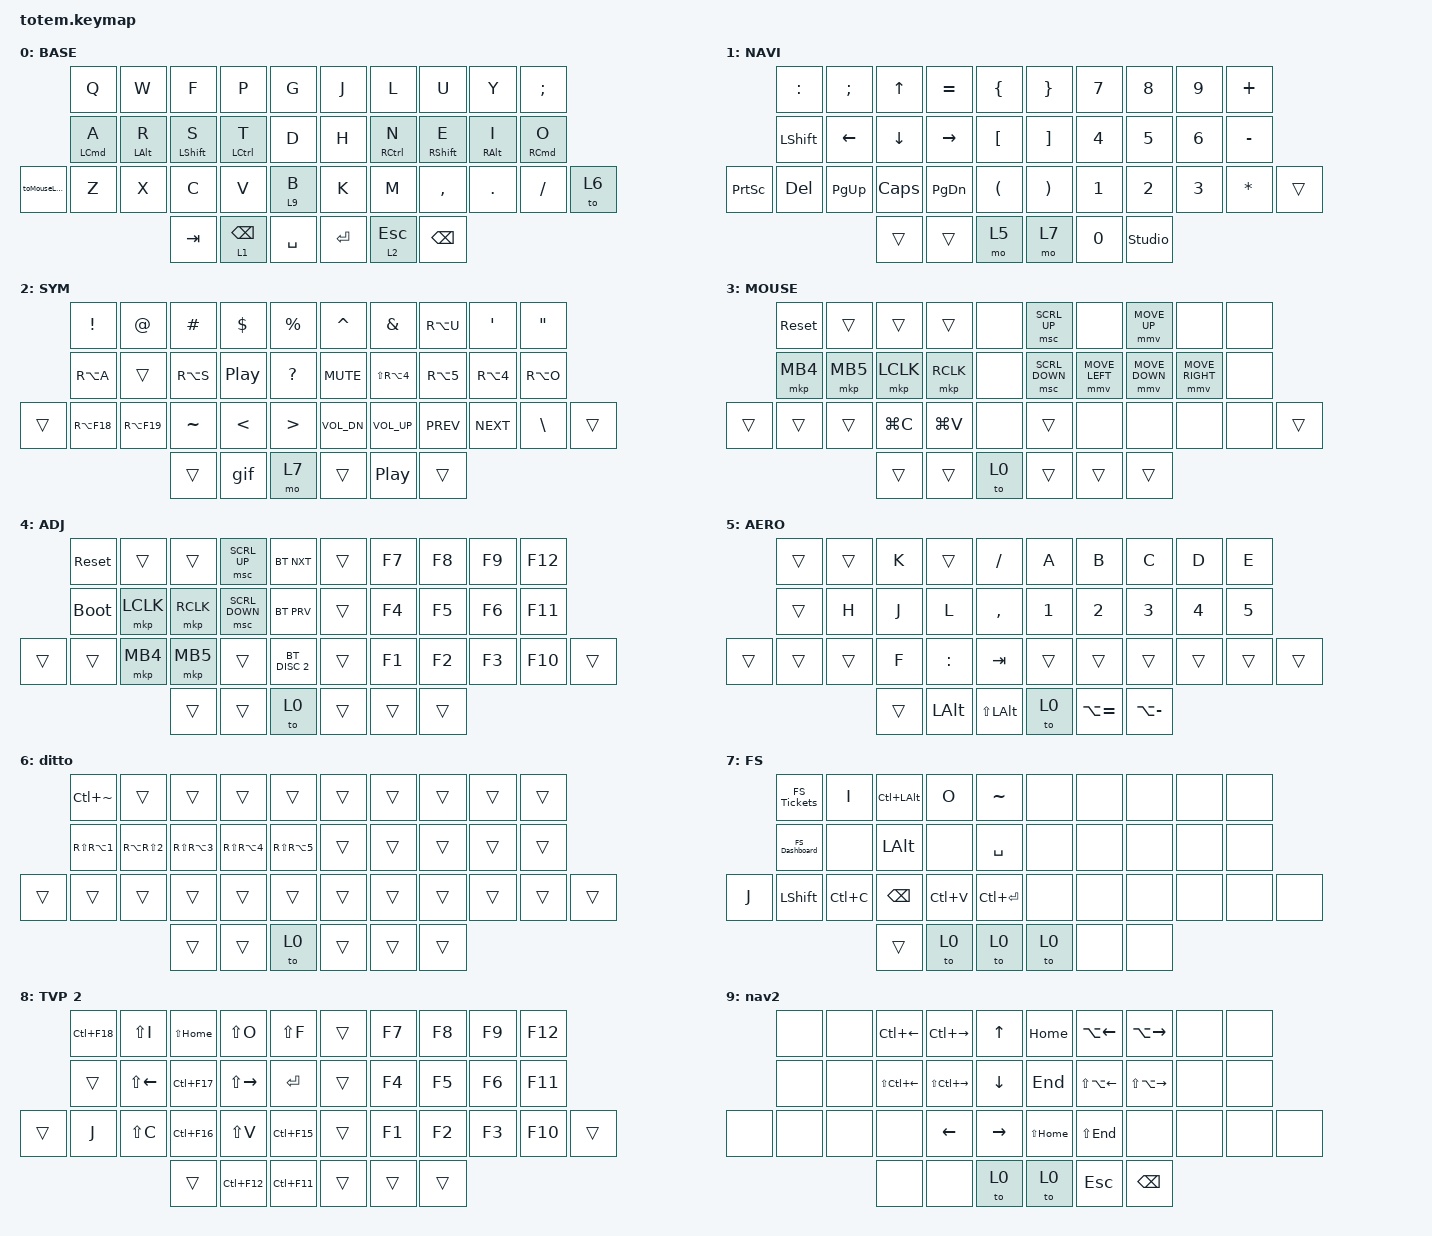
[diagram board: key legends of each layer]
//
//                                                        ▀▀▀▀▀     ▀▀▀▀▀          ▀▀█▀▀
//                                                        ▄▀▀▀▄  ▄  ▄▀▀▀▄  ▄  ▄▀▀▀▄  █  ▄▀▀▀▄
//                                                        █   █  █  █   █  █  █   █  █  █   █
//                                                         ▀▀▀   █   ▀▀▀   █   ▀▀▀   ▀   ▀▀▀
//                                                               █      ▄▄▄█▄▄▄    █   █  
//                                                               ▀      █  █  █     █▄█
//                                                             ▀▀▀▀▀    █  █  █      ▀
//                                                                      ▀  ▀  ▀
//
// ▄▄▄▄▄▄▄▄▄▄▄▄▄▄▄▄▄▄▄▄▄▄▄▄▄▄▄▄▄▄▄▄▄▄▄▄▄▄▄▄▄▄▄▄▄▄▄▄▄▄▄▄▄▄▄▄▄▄▄▄▄▄▄▄▄▄▄▄▄▄▄▄▄▄▄▄▄▄▄▄▄▄▄▄▄▄▄▄▄▄▄▄▄▄▄▄▄▄▄▄▄▄▄▄▄▄▄▄▄▄▄▄▄▄▄▄▄▄▄▄▄▄▄▄▄▄▄▄▄▄▄▄▄▄▄▄▄▄▄▄▄▄▄▄▄▄▄▄▄

#include <behaviors.dtsi>
#include <dt-bindings/zmk/bt.h>
#include <dt-bindings/zmk/keys.h>
#include <dt-bindings/zmk/pointing.h>

#define BASE 0
#define NAV  1
#define SYM  2
#define ADJ  3
#define TVP1 4
#define TVP2 5

&mt {
    quick-tap-ms = <100>;
    global-quick-tap;
    flavor = "tap-preferred";
    tapping-term-ms = <170>;
};

&mmv {
    x-input-code = <INPUT_REL_X>;
    y-input-code = <INPUT_REL_Y>;
    time-to-max-speed-ms = <100>;
    acceleration-exponent = <0>;
};

&msc {
    x-input-code = <INPUT_REL_HWHEEL>;
    y-input-code = <INPUT_REL_WHEEL>;
    time-to-max-speed-ms = <100>;
    acceleration-exponent = <0>;
};

/ {
    combos {
        compatible = "zmk,combos";

        combo_esc {
            timeout-ms = <50>;
            key-positions = <0 1>;
            bindings = <&kp ESC>;
        };

        combo_tvp {
            timeout-ms = <100>;
            key-positions = <11 12 13>;
            bindings = <&tog 7>;
        };

        homerowSearch {
            bindings = <&homerowSearch>;
            key-positions = <12 13>;
        };

        homerowScroll {
            bindings = <&homerowScroll>;
            key-positions = <16 17>;
        };

        aerospace {
            bindings = <&tog 5>;
            key-positions = <34 35>;
        };
    };

    macros {
        gif: gif {
            label = "giphy";
            compatible = "zmk,behavior-macro";
            #binding-cells = <0>;
            bindings =
                <&macro_press>,
                <&kp LSHFT>,
                <&macro_tap>,
                <&kp N2>,
                <&macro_release>,
                <&kp LSHFT>,
                <&macro_tap>,
                <&kp G &kp I &kp F>;
        };

        homerowSearch: homerowSearch {
            compatible = "zmk,behavior-macro";
            #binding-cells = <0>;
            bindings =
                <&macro_press>,
                <&kp LEFT_SHIFT>,
                <&macro_tap>,
                <&kp LEFT_COMMAND>,
                <&macro_release>,
                <&kp LEFT_SHIFT>;

            label = "HOMEROWSEARCH";
        };

        homerowScroll: homerowScroll {
            compatible = "zmk,behavior-macro";
            #binding-cells = <0>;
            bindings =
                <&macro_press>,
                <&kp LEFT_SHIFT &kp LEFT_COMMAND>,
                <&macro_tap>,
                <&kp J>,
                <&macro_release>,
                <&kp LEFT_SHIFT &kp LEFT_COMMAND>;

            label = "HOMEROWSCROLL";
        };

        aerospacewindow: aerospacewindow {
            compatible = "zmk,behavior-macro";
            #binding-cells = <0>;
            bindings =
                <&macro_press>,
                <&kp LA(LEFT_SHIFT)>,
                <&macro_pause_for_release>,
                <&macro_release>,
                <&kp LA(LEFT_SHIFT)>;

            label = "AEROSPACEWINDOW";
        };

        FS_Dashboard: FS_Dashboard {
            compatible = "zmk,behavior-macro";
            #binding-cells = <0>;
            bindings = <&macro_tap>, <&kp G &kp D>;

            label = "FS_DASHBOARD";
        };

        FS_Tickets: FS_Tickets {
            compatible = "zmk,behavior-macro";
            #binding-cells = <0>;
            bindings = <&macro_tap>, <&kp G &kp T>;

            label = "FS_TICKETS";
        };
    };

    behaviors {
        aerospace: aerospace {
            compatible = "zmk,behavior-toggle-layer";
            label = "AEROSPACE";
            #binding-cells = <1>;
            toggle-mode = "flip";
        };

        movewindow: movewindow {
            compatible = "zmk,behavior-tap-dance";
            label = "MOVEWINDOW";
            #binding-cells = <0>;
            bindings = <&kp LALT>, <&aerospacewindow>;
        };

        aero_on: aero_on {
            compatible = "zmk,behavior-toggle-layer";
            label = "AERO_ON";
            #binding-cells = <1>;
        };

        aero_off: aero_off {
            compatible = "zmk,behavior-toggle-layer";
            label = "AERO_OFF";
            #binding-cells = <1>;
            toggle-mode = "off";
        };

        aerospacehold: aerospacehold {
            compatible = "zmk,behavior-hold-tap";
            label = "AEROSPACEHOLD";
            bindings = <&tog>, <&kp>;

            #binding-cells = <2>;
            tapping-term-ms = <200>;
        };

        toMouseLayer: toMouseLayer {
            compatible = "zmk,behavior-tap-dance";
            label = "TOMOUSELAYER";
            #binding-cells = <0>;
            bindings = <&kp LC(GRAVE)>, <&tog 3>;

            tapping-term-ms = <400>;
        };

        NAV2: NAV2 {
            compatible = "zmk,behavior-tap-dance";
            label = "NAV2";
            #binding-cells = <0>;
            bindings = <&kp B>, <&to 9>;

            tapping-term-ms = <550>;
        };

        testnav2: testnav2 {
            compatible = "zmk,behavior-hold-tap";
            label = "TESTNAV2";
            bindings = <&to>, <&kp>;

            #binding-cells = <2>;
            tapping-term-ms = <200>;
            flavor = "balanced";
            quick-tap-ms = <175>;
            require-prior-idle-ms = <150>;
        };
    };

    keymap {
        compatible = "zmk,keymap";

        // ▄▄▄▄▄▄▄▄▄▄▄▄▄▄▄▄▄▄▄▄▄▄▄▄▄▄▄▄▄▄▄▄▄▄▄▄▄▄▄▄▄▄▄▄▄▄▄▄▄▄▄▄▄▄▄▄▄▄▄▄▄▄▄▄▄▄▄▄▄▄▄▄▄▄▄▄▄▄▄▄▄▄▄▄▄▄▄▄▄▄▄▄▄▄▄▄▄▄▄▄▄▄▄▄▄▄▄▄▄▄▄▄▄▄▄▄▄▄▄▄▄▄▄▄▄▄▄▄▄▄▄▄▄▄▄▄▄▄▄▄▄▄▄▄▄▄▄▄▄

        base_layer {
            // ┏━━━━━━━━━━━━━━━━━━━━━━━━━━━━━━━━━━━━━━━┓

            label = "BASE";

            // ┗━━━━━━━━━━━━━━━━━━━━━━━━━━━━━━━━━━━━━━━┛
            //             ┏━━━━━━━━━━━┳━━━━━━━━━━━┳━━━━━━━━━━━┳━━━━━━━━━━━┳━━━━━━━━━━━┓   ┏━━━━━━━━━━━┳━━━━━━━━━━━┳━━━━━━━━━━━┳━━━━━━━━━━━┳━━━━━━━━━━━┓
            //             ┃     Q     ┃     W     ┃     F     ┃     P     ┃     G     ┃   ┃     J     ┃     L     ┃     U     ┃     Y     ┃     ;     ┃
            //             ┣━━━━━━━━━━━╋━━━━━━━━━━━╋━━━━━━━━━━━╋━━━━━━━━━━━╋━━━━━━━━━━━┫   ┣━━━━━━━━━━━╋━━━━━━━━━━━╋━━━━━━━━━━━╋━━━━━━━━━━━╋━━━━━━━━━━━┫
            //             ┃     A     ┃     R     ┃     S     ┃     T     ┃     D     ┃   ┃     H     ┃     N     ┃     E     ┃     I     ┃     O     ┃
            // ┏━━━━━━━━━━━╋━━━━━━━━━━━╋━━━━━━━━━━━╋━━━━━━━━━━━╋━━━━━━━━━━━╋━━━━━━━━━━━┫   ┣━━━━━━━━━━━╋━━━━━━━━━━━╋━━━━━━━━━━━╋━━━━━━━━━━━╋━━━━━━━━━━━╋━━━━━━━━━━━┓
            // ┃     Q     ┃     Z     ┃     X     ┃     C     ┃     V     ┃     B     ┃   ┃     K     ┃     M     ┃     ,     ┃     .     ┃     /     ┃     \     ┃
            // ┗━━━━━━━━━━━┻━━━━━━━━━━━┻━━━━━━━━━━━╋━━━━━━━━━━━╋━━━━━━━━━━━╋━━━━━━━━━━━┫   ┣━━━━━━━━━━━╋━━━━━━━━━━━╋━━━━━━━━━━━╋━━━━━━━━━━━┻━━━━━━━━━━━┻━━━━━━━━━━━┛
            //                                     ┃    DEL    ┃    TAB    ┃    SPC    ┃   ┃   ENTER   ┃           ┃   BSPC    ┃
            //                                     ┗━━━━━━━━━━━┻━━━━━━━━━━━┻━━━━━━━━━━━┛   ┗━━━━━━━━━━━┻━━━━━━━━━━━┻━━━━━━━━━━━┛

            bindings = <
               &kp Q               &kp W       &kp F             &kp P            &kp G            &kp J      &kp L        &kp U              &kp Y       &kp SEMI
               &mt LEFT_COMMAND A  &mt LALT R  &mt LEFT_SHIFT S  &mt LCTRL T      &kp D            &kp H      &mt RCTRL N  &mt RIGHT_SHIFT E  &mt RALT I  &mt RIGHT_COMMAND O
&toMouseLayer  &kp Z               &kp X       &kp C             &kp V            &testnav2 9 B    &kp K      &kp M        &kp COMMA          &kp DOT     &kp FSLH             &to 6
                                               &kp TAB           &lt 1 BACKSPACE  &kp SPACE        &kp ENTER  &lt 2 ESC    &kp BSPC
            >;
        };

        nav_layer {
            // ┏━━━━━━━━━━━━━━━━━━━━━━━━━━━━━━━━━━━━━━━┓

            label = "NAVI";

            // ┗━━━━━━━━━━━━━━━━━━━━━━━━━━━━━━━━━━━━━━━┛
            //             ┏━━━━━━━━━━━┳━━━━━━━━━━━┳━━━━━━━━━━━┳━━━━━━━━━━━┳━━━━━━━━━━━┓   ┏━━━━━━━━━━━┳━━━━━━━━━━━┳━━━━━━━━━━━┳━━━━━━━━━━━┳━━━━━━━━━━━┓
            //             ┃           ┃           ┃     UP    ┃           ┃     {     ┃   ┃     }     ┃     7     ┃     8     ┃     9     ┃     +     ┃
            //             ┣━━━━━━━━━━━╋━━━━━━━━━━━╋━━━━━━━━━━━╋━━━━━━━━━━━╋━━━━━━━━━━━┫   ┣━━━━━━━━━━━╋━━━━━━━━━━━╋━━━━━━━━━━━╋━━━━━━━━━━━╋━━━━━━━━━━━┫
            //             ┃   SHIFT   ┃   LEFT    ┃    DOWN   ┃   RIGHT   ┃     [     ┃   ┃     ]     ┃     4     ┃     5     ┃     6     ┃     -     ┃
            // ┏━━━━━━━━━━━╋━━━━━━━━━━━╋━━━━━━━━━━━╋━━━━━━━━━━━╋━━━━━━━━━━━╋━━━━━━━━━━━┫   ┣━━━━━━━━━━━╋━━━━━━━━━━━╋━━━━━━━━━━━╋━━━━━━━━━━━╋━━━━━━━━━━━╋━━━━━━━━━━━┓
            // ┃           ┃           ┃   P UP    ┃  C LOCK   ┃  P DOWN   ┃     (     ┃   ┃     )     ┃     1     ┃     2     ┃     3     ┃     *     ┃           ┃
            // ┗━━━━━━━━━━━┻━━━━━━━━━━━┻━━━━━━━━━━━╋━━━━━━━━━━━╋━━━━━━━━━━━╋━━━━━━━━━━━┫   ┣━━━━━━━━━━━╋━━━━━━━━━━━╋━━━━━━━━━━━╋━━━━━━━━━━━┻━━━━━━━━━━━┻━━━━━━━━━━━┛
            //                                     ┃           ┃    TAB    ┃    SPC    ┃   ┃    DEL    ┃     0     ┃           ┃
            //                                     ┗━━━━━━━━━━━┻━━━━━━━━━━━┻━━━━━━━━━━━┛   ┗━━━━━━━━━━━┻━━━━━━━━━━━┻━━━━━━━━━━━┛

            bindings = <
                 &kp COLON  &kp SEMI   &kp UP    &kp EQUAL  &kp LBRC    &kp RBRC  &kp N7        &kp N8          &kp N9        &kp PLUS
                 &kp LSHFT  &kp LEFT   &kp DOWN  &kp RIGHT  &kp LBKT    &kp RBKT  &kp NUMBER_4  &kp N5          &kp NUMBER_6  &kp MINUS
&kp PRINTSCREEN  &kp DEL    &kp PG_UP  &kp CAPS  &kp PG_DN  &kp LPAR    &kp RPAR  &kp NUMBER_1  &kp NUMBER_2    &kp NUMBER_3  &kp ASTERISK  &trans
                                       &trans    &trans     &mo 5       &mo 7     &kp N0        &studio_unlock
            >;
        };

        sim_layer {
            // ┏━━━━━━━━━━━━━━━━━━━━━━━━━━━━━━━━━━━━━━━┓

            label = "SYM";

            // ┗━━━━━━━━━━━━━━━━━━━━━━━━━━━━━━━━━━━━━━━┛
            //             ┏━━━━━━━━━━━┳━━━━━━━━━━━┳━━━━━━━━━━━┳━━━━━━━━━━━┳━━━━━━━━━━━┓   ┏━━━━━━━━━━━┳━━━━━━━━━━━┳━━━━━━━━━━━┳━━━━━━━━━━━┳━━━━━━━━━━━┓
            //             ┃     !     ┃     @     ┃     #     ┃     $     ┃     %     ┃   ┃     ˆ     ┃     &     ┃     Ü     ┃     '     ┃     "     ┃
            //             ┣━━━━━━━━━━━╋━━━━━━━━━━━╋━━━━━━━━━━━╋━━━━━━━━━━━╋━━━━━━━━━━━┫   ┣━━━━━━━━━━━╋━━━━━━━━━━━╋━━━━━━━━━━━╋━━━━━━━━━━━╋━━━━━━━━━━━┫
            //             ┃     Ä     ┃           ┃    SZ     ┃           ┃           ┃   ┃   MUTE    ┃   YEN     ┃   EURO    ┃  POUND    ┃     Ö     ┃
            // ┏━━━━━━━━━━━╋━━━━━━━━━━━╋━━━━━━━━━━━╋━━━━━━━━━━━╋━━━━━━━━━━━╋━━━━━━━━━━━┫   ┣━━━━━━━━━━━╋━━━━━━━━━━━╋━━━━━━━━━━━╋━━━━━━━━━━━╋━━━━━━━━━━━╋━━━━━━━━━━━┓
            // ┃           ┃  EMAIL1   ┃  EMAIL2   ┃           ┃           ┃           ┃   ┃   VOL-    ┃   VOL+    ┃   LAST    ┃   NEXT    ┃     \     ┃           ┃
            // ┗━━━━━━━━━━━┻━━━━━━━━━━━┻━━━━━━━━━━━╋━━━━━━━━━━━╋━━━━━━━━━━━╋━━━━━━━━━━━┫   ┣━━━━━━━━━━━╋━━━━━━━━━━━╋━━━━━━━━━━━╋━━━━━━━━━━━┻━━━━━━━━━━━┻━━━━━━━━━━━┛
            //                                     ┃           ┃    GIF    ┃    ADJ    ┃   ┃           ┃           ┃           ┃
            //                                     ┗━━━━━━━━━━━┻━━━━━━━━━━━┻━━━━━━━━━━━┛   ┗━━━━━━━━━━━┻━━━━━━━━━━━┻━━━━━━━━━━━┛

            bindings = <
        &kp EXCL     &kp AT       &kp HASH   &kp DLLR       &kp PRCNT           &kp CARET     &kp AMPS        &kp RA(U)   &kp SQT     &kp DQT
        &kp RA(A)    &trans       &kp RA(S)  &kp C_PP       &kp QUESTION        &kp C_MUTE    &kp LS(RA(N4))  &kp RA(N5)  &kp RA(N4)  &kp RA(O)
&trans  &kp RA(F18)  &kp RA(F19)  &kp TILDE  &kp LESS_THAN  &kp GREATER_THAN    &kp C_VOL_DN  &kp C_VOL_UP    &kp C_PREV  &kp C_NEXT  &kp BSLH   &trans
                                  &trans     &gif           &mo 7               &trans        &kp C_PP        &trans
            >;
        };

        mouse {
            label = "MOUSE";
            bindings = <
        &sys_reset  &trans    &trans     &trans     &none    &msc SCRL_UP    &none           &mmv MOVE_UP    &none            &none
        &mkp MB4    &mkp MB5  &mkp LCLK  &mkp RCLK  &none    &msc SCRL_DOWN  &mmv MOVE_LEFT  &mmv MOVE_DOWN  &mmv MOVE_RIGHT  &none
&trans  &trans      &trans    &kp LG(C)  &kp LG(V)  &none    &trans          &none           &none           &none            &none  &trans
                              &trans     &trans     &to 0    &trans          &trans          &trans
            >;
        };

        adjust_layer {
            // ┏━━━━━━━━━━━━━━━━━━━━━━━━━━━━━━━━━━━━━━━┓

            label = "ADJ";

            // ┗━━━━━━━━━━━━━━━━━━━━━━━━━━━━━━━━━━━━━━━┛
            //             ┏━━━━━━━━━━━┳━━━━━━━━━━━┳━━━━━━━━━━━┳━━━━━━━━━━━┳━━━━━━━━━━━┓   ┏━━━━━━━━━━━┳━━━━━━━━━━━┳━━━━━━━━━━━┳━━━━━━━━━━━┳━━━━━━━━━━━┓
            //             ┃   RESET   ┃ BT CLEAR  ┃  OUT TOG  ┃           ┃           ┃   ┃           ┃    F7     ┃    F8     ┃    F9     ┃    F12    ┃
            //             ┣━━━━━━━━━━━╋━━━━━━━━━━━╋━━━━━━━━━━━╋━━━━━━━━━━━╋━━━━━━━━━━━┫   ┣━━━━━━━━━━━╋━━━━━━━━━━━╋━━━━━━━━━━━╋━━━━━━━━━━━╋━━━━━━━━━━━┫
            //             ┃ BOOTLOAD  ┃ BT NEXT   ┃           ┃           ┃           ┃   ┃           ┃    F4     ┃    F5     ┃    F6     ┃    F11    ┃
            // ┏━━━━━━━━━━━╋━━━━━━━━━━━╋━━━━━━━━━━━╋━━━━━━━━━━━╋━━━━━━━━━━━╋━━━━━━━━━━━┫   ┣━━━━━━━━━━━╋━━━━━━━━━━━╋━━━━━━━━━━━╋━━━━━━━━━━━╋━━━━━━━━━━━╋━━━━━━━━━━━┓
            // ┃           ┃           ┃ BT PREV   ┃           ┃           ┃           ┃   ┃           ┃    F1     ┃    F2     ┃    F3     ┃    F10    ┃           ┃
            // ┗━━━━━━━━━━━┻━━━━━━━━━━━┻━━━━━━━━━━━╋━━━━━━━━━━━╋━━━━━━━━━━━╋━━━━━━━━━━━┫   ┣━━━━━━━━━━━╋━━━━━━━━━━━╋━━━━━━━━━━━╋━━━━━━━━━━━┻━━━━━━━━━━━┻━━━━━━━━━━━┛
            //                                     ┃           ┃           ┃           ┃   ┃           ┃           ┃           ┃
            //                                     ┗━━━━━━━━━━━┻━━━━━━━━━━━┻━━━━━━━━━━━┛   ┗━━━━━━━━━━━┻━━━━━━━━━━━┻━━━━━━━━━━━┛

            bindings = <
        &sys_reset   &trans     &trans     &msc SCRL_UP    &bt BT_NXT       &trans  &kp F7  &kp F8  &kp F9  &kp F12
        &bootloader  &mkp LCLK  &mkp RCLK  &msc SCRL_DOWN  &bt BT_PRV       &trans  &kp F4  &kp F5  &kp F6  &kp F11
&trans  &trans       &mkp MB4   &mkp MB5   &trans          &bt BT_DISC 2    &trans  &kp F1  &kp F2  &kp F3  &kp F10  &trans
                                &trans     &trans          &to 0            &trans  &trans  &trans
            >;
        };

        aero {
            bindings = <
        &trans  &trans  &kp K   &trans        &kp FSLH            &kp A   &kp B          &kp C          &kp D   &kp E
        &trans  &kp H   &kp J   &kp L         &kp COMMA           &kp N1  &kp N2         &kp N3         &kp N4  &kp N5
&trans  &trans  &trans  &kp F   &kp COLON     &kp TAB             &trans  &trans         &trans         &trans  &trans  &trans
                        &trans  &kp LEFT_ALT  &kp LS(LEFT_ALT)    &to 0   &kp LA(EQUAL)  &kp LA(MINUS)
            >;

            label = "AERO";
        };

        ditto {
            bindings = <
        &kp LC(TILDE)         &trans                &trans                &trans                &trans                  &trans  &trans  &trans  &trans  &trans
        &kp RS(RA(NUMBER_1))  &kp RA(RS(NUMBER_2))  &kp RS(RA(NUMBER_3))  &kp RS(RA(NUMBER_4))  &kp RS(RA(NUMBER_5))    &trans  &trans  &trans  &trans  &trans
&trans  &trans                &trans                &trans                &trans                &trans                  &trans  &trans  &trans  &trans  &trans  &trans
                                                    &trans                &trans                &to 0                   &trans  &trans  &trans
            >;

            label = "ditto";
        };

        tvp1_layer {
            // ┏━━━━━━━━━━━━━━━━━━━━━━━━━━━━━━━━━━━━━━━┓

            label = "FS";

            // ┗━━━━━━━━━━━━━━━━━━━━━━━━━━━━━━━━━━━━━━━┛
            //             ┏━━━━━━━━━━━┳━━━━━━━━━━━┳━━━━━━━━━━━┳━━━━━━━━━━━┳━━━━━━━━━━━┓   ┏━━━━━━━━━━━┳━━━━━━━━━━━┳━━━━━━━━━━━┳━━━━━━━━━━━┳━━━━━━━━━━━┓
            //             ┃ NEXT FILE ┃ MARK IN   ┃ ROTATE    ┃ MARK OUT  ┃ SHOW SNAP ┃   ┃           ┃           ┃           ┃           ┃           ┃
            //             ┣━━━━━━━━━━━╋━━━━━━━━━━━╋━━━━━━━━━━━╋━━━━━━━━━━━╋━━━━━━━━━━━┫   ┣━━━━━━━━━━━╋━━━━━━━━━━━╋━━━━━━━━━━━╋━━━━━━━━━━━╋━━━━━━━━━━━┫
            //             ┃ TVP II    ┃ LEFT      ┃ PAN       ┃ RIGHT     ┃ PLAY/FLIP ┃   ┃           ┃           ┃           ┃           ┃           ┃
            // ┏━━━━━━━━━━━╋━━━━━━━━━━━╋━━━━━━━━━━━╋━━━━━━━━━━━╋━━━━━━━━━━━╋━━━━━━━━━━━┫   ┣━━━━━━━━━━━╋━━━━━━━━━━━╋━━━━━━━━━━━╋━━━━━━━━━━━╋━━━━━━━━━━━╋━━━━━━━━━━━┓
            // ┃ FULLSCR   ┃ SHIFT     ┃ COPY      ┃ DELETE    ┃ PASTE     ┃ IMG MARK  ┃   ┃           ┃           ┃           ┃           ┃           ┃           ┃
            // ┗━━━━━━━━━━━┻━━━━━━━━━━━┻━━━━━━━━━━━╋━━━━━━━━━━━╋━━━━━━━━━━━╋━━━━━━━━━━━┫   ┣━━━━━━━━━━━╋━━━━━━━━━━━╋━━━━━━━━━━━╋━━━━━━━━━━━┻━━━━━━━━━━━┻━━━━━━━━━━━┛
            //                                     ┃           ┃ UNDO/SAVE ┃  SEL/MOV  ┃   ┃           ┃           ┃           ┃
            //                                     ┗━━━━━━━━━━━┻━━━━━━━━━━━┻━━━━━━━━━━━┛   ┗━━━━━━━━━━━┻━━━━━━━━━━━┻━━━━━━━━━━━┛

            bindings = <
       &FS_Tickets    &kp I      &kp LC(LALT)  &kp O      &kp TILDE        &none  &none  &none  &none  &none
       &FS_Dashboard  &none      &kp LALT      &none      &kp SPACE        &none  &none  &none  &none  &none
&kp J  &kp LSHFT      &kp LC(C)  &kp BSPC      &kp LC(V)  &kp LC(ENTER)    &none  &none  &none  &none  &none  &none
                                 &trans        &to 0      &to 0            &to 0  &none  &none
            >;
        };

        tvp2_layer {
            // ┏━━━━━━━━━━━━━━━━━━━━━━━━━━━━━━━━━━━━━━━┓

            label = "TVP 2";

            // ┗━━━━━━━━━━━━━━━━━━━━━━━━━━━━━━━━━━━━━━━┛
            //             ┏━━━━━━━━━━━┳━━━━━━━━━━━┳━━━━━━━━━━━┳━━━━━━━━━━━┳━━━━━━━━━━━┓   ┏━━━━━━━━━━━┳━━━━━━━━━━━┳━━━━━━━━━━━┳━━━━━━━━━━━┳━━━━━━━━━━━┓
            //             ┃ SOLO      ┃ TOGGLE IN ┃ RESET ROT ┃ TOGGLE OUT┃ TAKE SNAP ┃   ┃           ┃           ┃           ┃           ┃           ┃
            //             ┣━━━━━━━━━━━╋━━━━━━━━━━━╋━━━━━━━━━━━╋━━━━━━━━━━━╋━━━━━━━━━━━┫   ┣━━━━━━━━━━━╋━━━━━━━━━━━╋━━━━━━━━━━━╋━━━━━━━━━━━╋━━━━━━━━━━━┫
            //             ┃ ---       ┃ LAST KEY  ┃ NEW KEY   ┃ NEXT KEY  ┃ ENTER     ┃   ┃           ┃           ┃           ┃           ┃           ┃
            // ┏━━━━━━━━━━━╋━━━━━━━━━━━╋━━━━━━━━━━━╋━━━━━━━━━━━╋━━━━━━━━━━━╋━━━━━━━━━━━┫   ┣━━━━━━━━━━━╋━━━━━━━━━━━╋━━━━━━━━━━━╋━━━━━━━━━━━╋━━━━━━━━━━━╋━━━━━━━━━━━┓
            // ┃           ┃ FULLSCR   ┃ CPY2BRUSH ┃ DEL HEAD  ┃ PSTinPLACE┃ BOOK MARK ┃   ┃           ┃           ┃           ┃           ┃           ┃           ┃
            // ┗━━━━━━━━━━━┻━━━━━━━━━━━┻━━━━━━━━━━━╋━━━━━━━━━━━╋━━━━━━━━━━━╋━━━━━━━━━━━┫   ┣━━━━━━━━━━━╋━━━━━━━━━━━╋━━━━━━━━━━━╋━━━━━━━━━━━┻━━━━━━━━━━━┻━━━━━━━━━━━┛
            //                                     ┃           ┃ REDO/SAV1 ┃TRANS/WARP ┃   ┃           ┃           ┃           ┃
            //                                     ┗━━━━━━━━━━━┻━━━━━━━━━━━┻━━━━━━━━━━━┛   ┗━━━━━━━━━━━┻━━━━━━━━━━━┻━━━━━━━━━━━┛

            bindings = <
        &kp LC(F18)  &kp LS(I)     &kp LS(HOME)  &kp LS(O)      &kp LS(F)      &trans  &kp F7  &kp F8  &kp F9  &kp F12
        &trans       &kp LS(LEFT)  &kp LC(F17)   &kp LS(RIGHT)  &kp RET        &trans  &kp F4  &kp F5  &kp F6  &kp F11
&trans  &kp J        &kp LS(C)     &kp LC(F16)   &kp LS(V)      &kp LC(F15)    &trans  &kp F1  &kp F2  &kp F3  &kp F10  &trans
                                   &trans        &kp LC(F12)    &kp LC(F11)    &trans  &trans  &trans
            >;
        };

        vim {
            bindings = <
       &none  &none  &kp LC(LEFT_ARROW)  &kp LC(RIGHT)      &kp UP_ARROW    &kp HOME      &kp LA(LEFT)      &kp LA(RIGHT)      &none  &none
       &none  &none  &kp LS(LC(LEFT))    &kp LS(LC(RIGHT))  &kp DOWN        &kp END       &kp LS(LA(LEFT))  &kp LS(LA(RIGHT))  &none  &none
&none  &none  &none  &none               &kp LEFT           &kp RIGHT       &kp LS(HOME)  &kp LS(END)       &none              &none  &none  &none
                     &none               &none              &to 0           &to 0         &kp ESC           &kp BACKSPACE
            >;

            label = "nav2";
        };
    };
};
